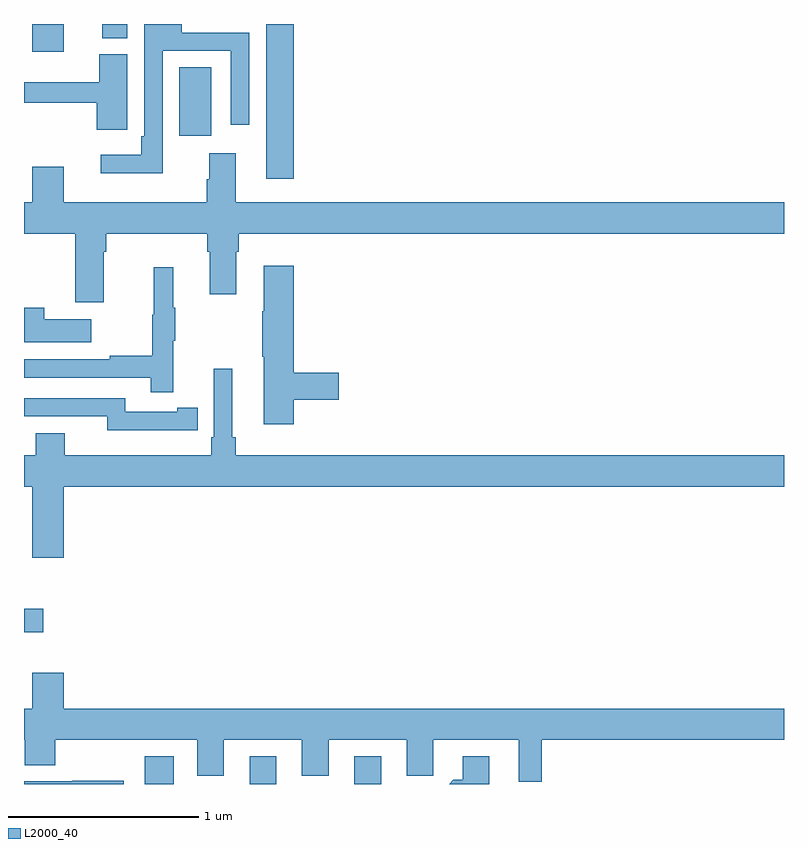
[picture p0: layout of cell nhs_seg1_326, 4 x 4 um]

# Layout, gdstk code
import gdstk
lib = gdstk.Library(unit=1e-6, precision=1e-09)
def R(c, l, rs):  # rectangles x0, y0, x1, y1
    for r in rs: c.add(gdstk.rectangle(r[:2], r[2:], *l))
def P(c, l, *ps):  # polygons
    for p in ps: c.add(gdstk.Polygon(p, *l))
L2000_40 = (2000, 40)

nhs_seg1_326 = lib.new_cell('nhs_seg1_326')
R(nhs_seg1_326, L2000_40, [(129.635,518.199,129.787,518.344), (130.187,518.199,130.327,518.344), (130.739,518.199,130.879,518.344), (129,518.999,129.102,519.121), (130.274,521.385,130.421,522.199), (129.818,521.61,129.985,521.972), (129.044,522.054,129.208,522.199), (129.413,522.124,129.544,522.199)])
P(nhs_seg1_326, L2000_40, [(129.729,522.057),(130.089,522.057),(130.089,521.67),(130.185,521.67),(130.185,522.153),(129.829,522.153),(129.829,522.199),(129.633,522.199),(129.633,521.608),(129.617,521.608),(129.617,521.512),(129.405,521.512),(129.405,521.414),(129.729,521.414)],
  [(129.543,521.755),(129.544,521.755),(129.544,522.039),(129.395,522.039),(129.395,521.893),(129,521.893),(129,521.784),(129.383,521.784),(129.383,521.643),(129.543,521.643)],
  [(129.421,521),(129.434,521),(129.434,521.096),(129.965,521.096),(129.965,521),(129.977,521),(129.977,520.776),(130.117,520.776),(130.117,521),(130.13,521),(130.13,521.096),(133,521.096),(133,521.26),(130.114,521.26),(130.114,521.518),(129.974,521.518),(129.974,521.381),(129.962,521.381),(129.962,521.26),(129.208,521.26),(129.208,521.449),(129.044,521.449),(129.044,521.26),(129,521.26),(129,521.096),(129.269,521.096),(129.269,520.734),(129.421,520.734)],
  [(130.421,520.222),(130.657,520.222),(130.657,520.364),(130.421,520.364),(130.421,520.927),(130.262,520.927),(130.262,520.688),(130.255,520.688),(130.255,520.447),(130.262,520.447),(130.262,520.092),(130.421,520.092)],
  [(129.785,520.531),(129.796,520.531),(129.796,520.705),(129.785,520.705),(129.785,520.918),(129.682,520.918),(129.682,520.668),(129.675,520.668),(129.675,520.454),(129.451,520.454),(129.451,520.434),(129,520.434),(129,520.338),(129.667,520.338),(129.667,520.26),(129.785,520.26)],
  [(129.355,520.645),(129.107,520.645),(129.107,520.705),(129,520.705),(129,520.523),(129.355,520.523)],
  [(129.208,519.764),(133,519.764),(133,519.928),(130.115,519.928),(130.115,520.024),(130.096,520.024),(130.096,520.384),(129.999,520.384),(129.999,520.024),(129.986,520.024),(129.986,519.928),(129.214,519.928),(129.214,520.045),(129.062,520.045),(129.062,519.928),(129,519.928),(129,519.764),(129.044,519.764),(129.044,519.39),(129.208,519.39)],
  [(129.806,520.062),(129.914,520.062),(129.914,520.178),(129.806,520.178),(129.806,520.158),(129.534,520.158),(129.534,520.23),(129,520.23),(129,520.134),(129.438,520.134),(129.438,520.061),(129.806,520.061)],
  [(131.725,518.432),(133,518.432),(133,518.596),(129.208,518.596),(129.208,518.785),(129.044,518.785),(129.044,518.596),(129,518.596),(129,518.432),(129.005,518.432),(129.005,518.299),(129.165,518.299),(129.165,518.432),(129.911,518.432),(129.911,518.242),(130.051,518.242),(130.051,518.432),(130.463,518.432),(130.463,518.242),(130.603,518.242),(130.603,518.432),(131.015,518.432),(131.015,518.242),(131.154,518.242),(131.154,518.432),(131.603,518.432),(131.603,518.211),(131.725,518.211)],
  [(131.449,518.344),(131.309,518.344),(131.309,518.221),(131.26,518.221),(131.238,518.199),(131.449,518.199)],
  [(129.525,518.216),(129.253,518.216),(129.253,518.214),(129,518.214),(129,518.199),(129.525,518.199)])

lib.write_gds('nhs_seg1_326.gds')
